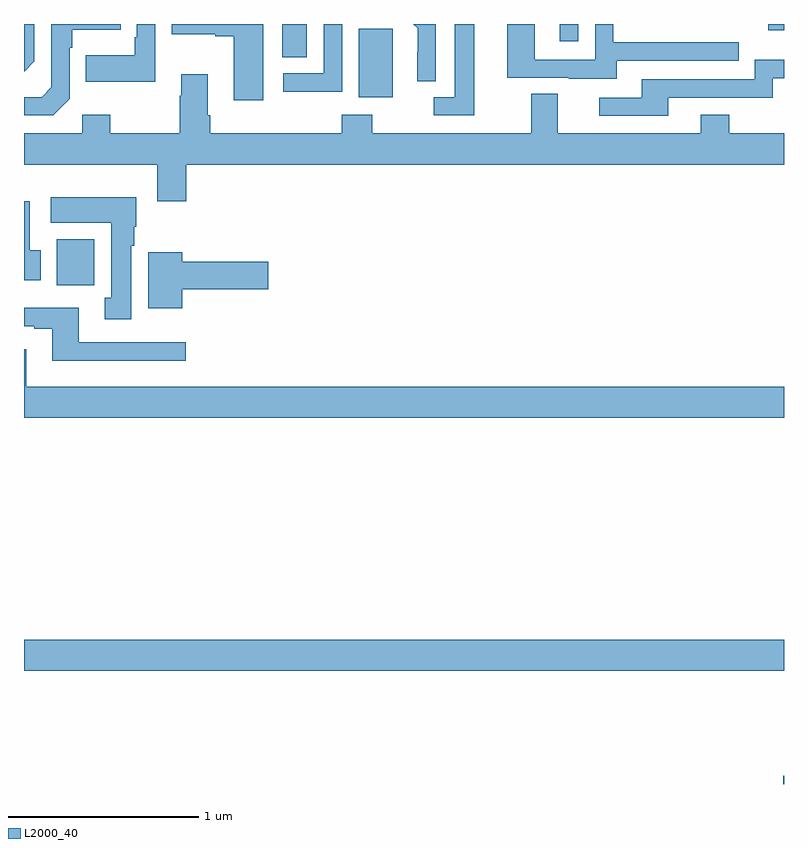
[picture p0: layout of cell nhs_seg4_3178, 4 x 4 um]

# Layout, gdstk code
import gdstk
lib = gdstk.Library(unit=1e-6, precision=1e-09)
def R(c, l, rs):  # rectangles x0, y0, x1, y1
    for r in rs: c.add(gdstk.rectangle(r[:2], r[2:], *l))
def P(c, l, *ps):  # polygons
    for p in ps: c.add(gdstk.Polygon(p, *l))
L2000_40 = (2000, 40)

nhs_seg4_3178 = lib.new_cell('nhs_seg4_3178')
R(nhs_seg4_3178, L2000_40, [(282.996,786.9,283,786.944), (279,787.496,283,787.66), (279.173,789.524,279.37,789.766), (280.763,790.514,280.942,790.875), (280.358,790.726,280.489,790.9), (281.819,790.809,281.916,790.9), (282.917,790.868,283,790.9)])
P(nhs_seg4_3178, L2000_40, [(280.674,790.9),(280.578,790.9),(280.578,790.641),(280.365,790.641),(280.365,790.543),(280.674,790.543)],
  [(281.166,790.9),(281.049,790.9),(281.072,790.877),(281.072,790.754),(281.07,790.754),(281.07,790.6),(281.166,790.6)],
  [(279.24,790.506),(279.24,790.775),(279.253,790.775),(279.253,790.871),(279.509,790.871),(279.509,790.9),(279.144,790.9),(279.144,790.566),(279.093,790.515),(279,790.515),(279,790.419),(279.153,790.419)],
  [(279.054,790.704),(279.054,790.9),(279,790.9),(279,790.65)],
  [(279.69,790.9),(279.594,790.9),(279.594,790.831),(279.582,790.831),(279.582,790.735),(279.325,790.735),(279.325,790.595),(279.69,790.595)],
  [(282.121,790.707),(282.761,790.707),(282.761,790.803),(282.102,790.803),(282.102,790.9),(282.006,790.9),(282.006,790.713),(281.688,790.713),(281.688,790.9),(281.543,790.9),(281.543,790.617),(281.867,790.617),(281.867,790.613),(282.121,790.613)],
  [(281.371,790.9),(281.267,790.9),(281.267,790.515),(281.157,790.515),(281.157,790.419),(281.371,790.419)],
  [(280.258,790.9),(279.777,790.9),(279.777,790.847),(280.007,790.847),(280.007,790.835),(280.103,790.835),(280.103,790.5),(280.258,790.5)],
  [(282.391,790.512),(282.942,790.512),(282.942,790.614),(283,790.614),(283,790.711),(282.846,790.711),(282.846,790.608),(282.251,790.608),(282.251,790.512),(282.027,790.512),(282.027,790.416),(282.391,790.416)],
  [(279.854,790.16),(283,790.16),(283,790.324),(282.711,790.324),(282.711,790.423),(282.563,790.423),(282.563,790.324),(281.809,790.324),(281.809,790.532),(281.669,790.532),(281.669,790.324),(280.833,790.324),(280.833,790.423),(280.673,790.423),(280.673,790.324),(279.98,790.324),(279.98,790.42),(279.967,790.42),(279.967,790.636),(279.827,790.636),(279.827,790.523),(279.82,790.523),(279.82,790.324),(279.453,790.324),(279.453,790.423),(279.306,790.423),(279.306,790.324),(279,790.324),(279,790.16),(279.701,790.16),(279.701,789.966),(279.854,789.966)],
  [(279.565,789.734),(279.58,789.734),(279.58,789.834),(279.592,789.834),(279.592,789.988),(279.141,789.988),(279.141,789.854),(279.458,789.854),(279.458,789.458),(279.425,789.458),(279.425,789.345),(279.565,789.345)],
  [(279.088,789.708),(279.031,789.708),(279.031,789.967),(279,789.967),(279,789.552),(279.088,789.552)],
  [(279.832,789.503),(280.285,789.503),(280.285,789.65),(279.832,789.65),(279.832,789.7),(279.653,789.7),(279.653,789.404),(279.832,789.404)],
  [(279.85,789.225),(279.289,789.225),(279.289,789.406),(279,789.406),(279,789.309),(279.053,789.309),(279.053,789.297),(279.149,789.297),(279.149,789.128),(279.85,789.128)],
  [(283,788.992),(279.013,788.992),(279.013,789.187),(279,789.187),(279,788.828),(283,788.828)])

lib.write_gds('nhs_seg4_3178.gds')
